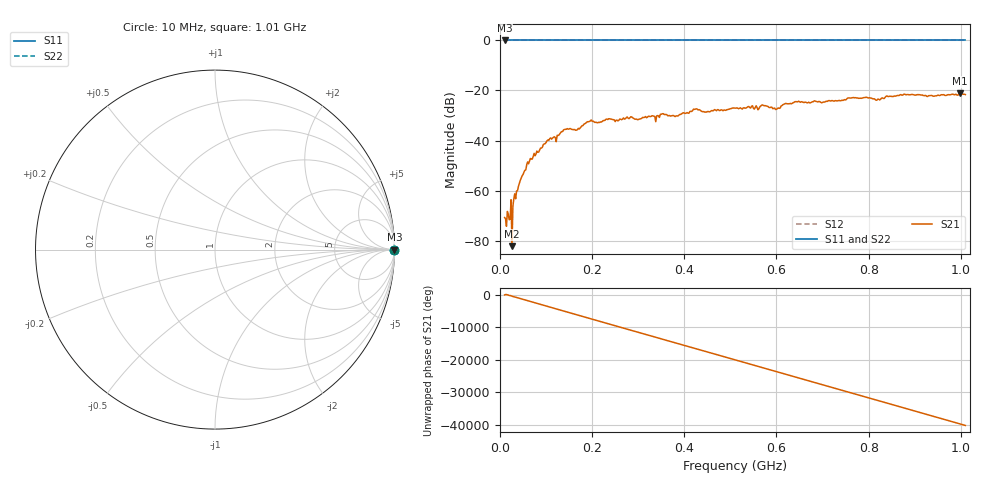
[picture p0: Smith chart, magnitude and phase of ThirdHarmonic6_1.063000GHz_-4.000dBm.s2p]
! 8/16/2025 9:32:27 AM
! C:\ANRITSUVNA\TEMP\TEMP.S2P
! CHANNEL.1
! TR.MEASUREMENT
! RAW.DATA
! RF.CORRECTION.OFF
! AVERAGING.OFF
! IF.BANDWIDTH: 5KHZ
! SWEEPTYPE:  FREQ.SWEEP(Linear)
! Reference Plane Port Info
! PORT:  PORT1  PORT2
! DISTANCE:  0  m  0  m
! TIME:  0  s  0  s
! PHASE.OFFSET:  0  deg.  0  deg.
! LOSS:  0  dB  0  dB
! REF.LOSS:  0  dB  0  dB
! REF.FREQ:  0  Hz  0  Hz
! Power Info
! POWER:  -20  dBm  -20  dBm
! EFF.POWER:  -20  dBm  -20  dBm
! SOURCE.ATTEN:  0  dB  0  dB
! TEST.ATTEN:  0  dB  0  dB
# GHZ S RI R 50.0
! FREQ.GHZ  S11RE  S11IM  S21RE  S21IM  S12RE  S12IM  S22RE  S22IM
!; PortSelection: Port_12
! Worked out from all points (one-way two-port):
!   501 points, 10 MHz to 1.01 GHz, reference 50 ohm
!   highest |S21| = -21.13 dB at 998 MHz (marker M1); lowest = -82.2 dB at 26 MHz (marker M2)
!   lowest |S11| = 0.0 dB at 10 MHz (marker M3)
!   |S11| at or under -10 dB: nowhere
!   |S22| runs from 0.0 to 0.0 dB; largest |S21 - S12| = 1.1
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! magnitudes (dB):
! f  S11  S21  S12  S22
! 10 MHz  0.0  -70.8  0.0  0.0
! 18 MHz  0.0  -69.4  0.0  0.0
! 20 MHz  0.0  -71.7  0.0  0.0
! 22 MHz  0.0  -71.4  0.0  0.0
! 26 MHz  0.0  -82.2  0.0  0.0
! 30 MHz  0.0  -63.3  0.0  0.0
! 32 MHz  0.0  -61.3  0.0  0.0
! 44 MHz  0.0  -55.9  0.0  0.0
! 70 MHz  0.0  -47.4  0.0  0.0
! 106 MHz  0.0  -39.9  0.0  0.0
! 142 MHz  0.0  -35.6  0.0  0.0
! 178 MHz  0.0  -34.1  0.0  0.0
! 194 MHz  0.0  -32.4  0.0  0.0
! 344 MHz  0.0  -30.2  0.0  0.0
! 510 MHz  0.0  -27.1  0.0  0.0
! 572 MHz  0.0  -26.1  0.0  0.0
! 602 MHz  0.0  -27.2  0.0  0.0
! 644 MHz  0.0  -24.5  0.0  0.0
! 678 MHz  0.0  -24.5  0.0  0.0
! 844 MHz  0.0  -22.4  0.0  0.0
! 998 MHz  0.0  -21.1  0.0  0.0
! 1.01 GHz  0.0  -21.6  0.0  0.0
